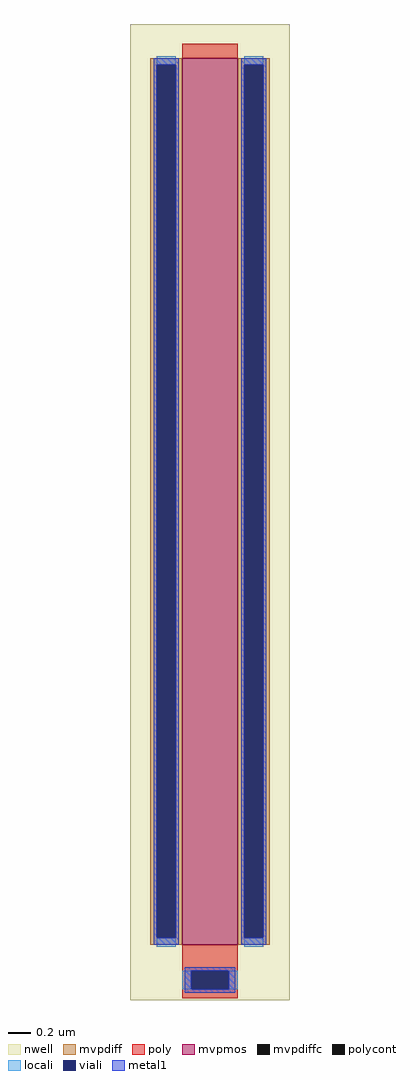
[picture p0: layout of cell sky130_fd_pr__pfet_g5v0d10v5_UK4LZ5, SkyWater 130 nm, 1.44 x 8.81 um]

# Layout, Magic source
magic
tech sky130A
magscale 1 2
<< nwell >>
rect -144 -864 144 898
<< mvpmos >>
rect -50 -764 50 836
<< mvpdiff >>
rect -108 824 -50 836
rect -108 -752 -96 824
rect -62 -752 -50 824
rect -108 -764 -50 -752
rect 50 824 108 836
rect 50 -752 62 824
rect 96 -752 108 824
rect 50 -764 108 -752
<< mvpdiffc >>
rect -96 -752 -62 824
rect 62 -752 96 824
<< poly >>
rect -50 836 50 862
rect -50 -811 50 -764
rect -50 -845 -34 -811
rect 34 -845 50 -811
rect -50 -861 50 -845
<< polycont >>
rect -34 -845 34 -811
<< locali >>
rect -96 824 -62 840
rect -96 -768 -62 -752
rect 62 824 96 840
rect 62 -768 96 -752
rect -50 -845 -34 -811
rect 34 -845 50 -811
<< viali >>
rect -96 -752 -62 824
rect 62 -752 96 824
rect -34 -845 34 -811
<< metal1 >>
rect -102 824 -56 836
rect -102 -752 -96 824
rect -62 -752 -56 824
rect -102 -764 -56 -752
rect 56 824 102 836
rect 56 -752 62 824
rect 96 -752 102 824
rect 56 -764 102 -752
rect -46 -811 46 -805
rect -46 -845 -34 -811
rect 34 -845 46 -811
rect -46 -851 46 -845
<< properties >>
string gencell sky130_fd_pr__pfet_g5v0d10v5
string library sky130
string parameters w 8 l 0.5 m 1 nf 1 diffcov 100 polycov 100 guard 0 glc 1 grc 1 gtc 1 gbc 1 tbcov 100 rlcov 100 topc 0 botc 1 poverlap 0 doverlap 1 lmin 0.50 wmin 0.42 compatible {sky130_fd_pr__pfet_01v8  sky130_fd_pr__pfet_01v8_lvt sky130_fd_pr__pfet_01v8_hvt  sky130_fd_pr__pfet_g5v0d10v5} full_metal 1 viasrc 100 viadrn 100 viagate 100 viagb 0 viagr 0 viagl 0 viagt 0
<< end >>
